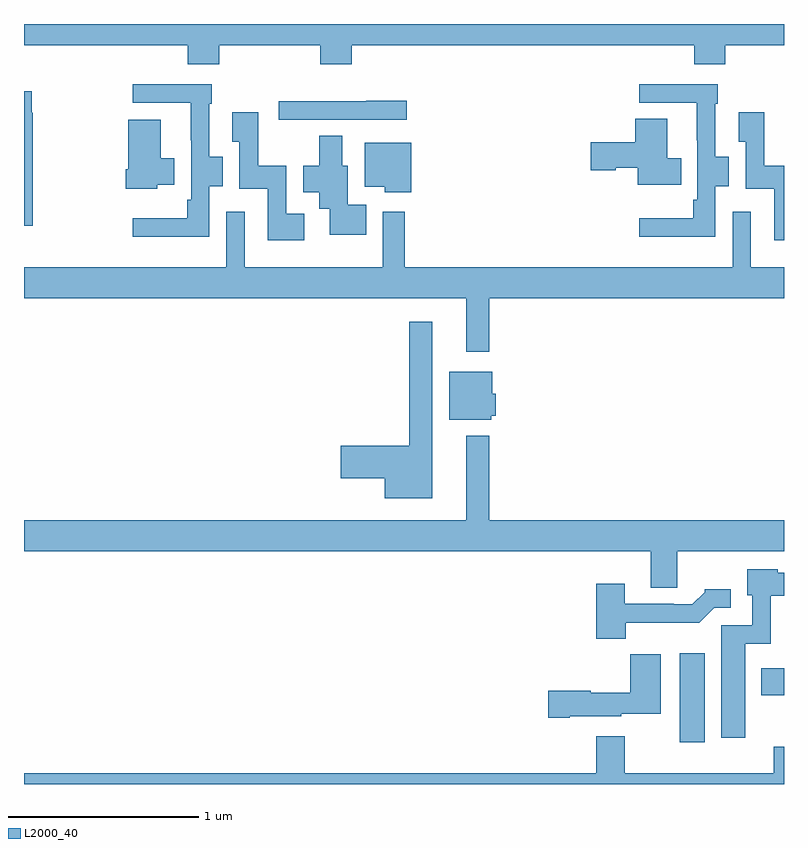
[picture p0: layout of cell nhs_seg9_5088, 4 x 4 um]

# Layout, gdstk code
import gdstk
lib = gdstk.Library(unit=1e-6, precision=1e-09)
def R(c, l, rs):  # rectangles x0, y0, x1, y1
    for r in rs: c.add(gdstk.rectangle(r[:2], r[2:], *l))
def P(c, l, *ps):  # polygons
    for p in ps: c.add(gdstk.Polygon(p, *l))
L2000_40 = (2000, 40)

nhs_seg9_5088 = lib.new_cell('nhs_seg9_5088')
R(nhs_seg9_5088, L2000_40, [(408.452,1224.72,408.583,1225.189), (408.881,1224.968,409,1225.108)])
P(nhs_seg9_5088, L2000_40, [(406.028,1228.388),(406.559,1228.388),(406.559,1228.289),(406.724,1228.289),(406.724,1228.388),(408.527,1228.388),(408.527,1228.289),(408.692,1228.289),(408.692,1228.388),(409,1228.388),(409,1228.5),(405,1228.5),(405,1228.388),(405.863,1228.388),(405.863,1228.289),(406.028,1228.289)],
  [(408.639,1227.646),(408.709,1227.646),(408.709,1227.801),(408.639,1227.801),(408.639,1228.079),(408.652,1228.079),(408.652,1228.182),(408.237,1228.182),(408.237,1228.086),(408.542,1228.086),(408.542,1227.889),(408.543,1227.889),(408.543,1227.574),(408.523,1227.574),(408.523,1227.478),(408.237,1227.478),(408.237,1227.38),(408.639,1227.38)],
  [(405.975,1227.646),(406.045,1227.646),(406.045,1227.801),(405.975,1227.801),(405.975,1228.079),(405.988,1228.079),(405.988,1228.182),(405.573,1228.182),(405.573,1228.086),(405.878,1228.086),(405.878,1227.889),(405.879,1227.889),(405.879,1227.574),(405.859,1227.574),(405.859,1227.478),(405.573,1227.478),(405.573,1227.38),(405.975,1227.38)],
  [(405.047,1228.034),(405.04,1228.034),(405.04,1228.147),(405,1228.147),(405,1227.437),(405.047,1227.437)],
  [(407.014,1228.097),(406.801,1228.097),(406.801,1228.094),(406.341,1228.094),(406.341,1227.996),(407.014,1227.996)],
  [(406.474,1227.502),(406.38,1227.502),(406.38,1227.754),(406.233,1227.754),(406.233,1228.036),(406.097,1228.036),(406.097,1227.88),(406.134,1227.88),(406.134,1227.632),(406.284,1227.632),(406.284,1227.362),(406.474,1227.362)],
  [(409,1227.754),(408.897,1227.754),(408.897,1228.036),(408.761,1228.036),(408.761,1227.88),(408.798,1227.88),(408.798,1227.632),(408.948,1227.632),(408.948,1227.362),(409,1227.362)],
  [(408.458,1227.793),(408.385,1227.793),(408.385,1228.001),(408.218,1228.001),(408.218,1227.878),(407.982,1227.878),(407.982,1227.731),(408.114,1227.731),(408.114,1227.743),(408.23,1227.743),(408.23,1227.653),(408.458,1227.653)],
  [(405.702,1227.653),(405.79,1227.653),(405.79,1227.793),(405.721,1227.793),(405.721,1227.997),(405.548,1227.997),(405.548,1227.736),(405.536,1227.736),(405.536,1227.632),(405.702,1227.632)],
  [(406.802,1227.55),(406.705,1227.55),(406.705,1227.754),(406.675,1227.754),(406.675,1227.911),(406.553,1227.911),(406.553,1227.754),(406.469,1227.754),(406.469,1227.614),(406.553,1227.614),(406.553,1227.527),(406.608,1227.527),(406.608,1227.392),(406.802,1227.392)],
  [(407.038,1227.874),(406.793,1227.874),(406.793,1227.644),(406.898,1227.644),(406.898,1227.614),(407.038,1227.614)],
  [(407.449,1227.056),(409,1227.056),(409,1227.22),(408.825,1227.22),(408.825,1227.511),(408.729,1227.511),(408.729,1227.22),(407.003,1227.22),(407.003,1227.511),(406.887,1227.511),(406.887,1227.22),(406.161,1227.22),(406.161,1227.511),(406.065,1227.511),(406.065,1227.22),(405,1227.22),(405,1227.056),(407.327,1227.056),(407.327,1226.775),(407.449,1226.775)],
  [(407.149,1226.932),(407.028,1226.932),(407.028,1226.279),(406.668,1226.279),(406.668,1226.108),(406.898,1226.108),(406.898,1226.003),(407.149,1226.003)],
  [(407.46,1226.439),(407.482,1226.439),(407.482,1226.553),(407.464,1226.553),(407.464,1226.671),(407.237,1226.671),(407.237,1226.417),(407.46,1226.417)],
  [(408.439,1225.724),(409,1225.724),(409,1225.888),(407.449,1225.888),(407.449,1226.332),(407.327,1226.332),(407.327,1225.888),(405,1225.888),(405,1225.724),(408.299,1225.724),(408.299,1225.534),(408.439,1225.534)],
  [(408.796,1225.238),(408.93,1225.238),(408.93,1225.49),(409,1225.49),(409,1225.612),(408.966,1225.612),(408.966,1225.63),(408.806,1225.63),(408.806,1225.494),(408.834,1225.494),(408.834,1225.335),(408.671,1225.335),(408.671,1224.744),(408.796,1224.744)],
  [(408.166,1225.35),(408.555,1225.35),(408.633,1225.428),(408.721,1225.428),(408.721,1225.525),(408.582,1225.525),(408.582,1225.51),(408.518,1225.446),(408.419,1225.446),(408.419,1225.449),(408.163,1225.449),(408.163,1225.555),(408.011,1225.555),(408.011,1225.265),(408.166,1225.265)],
  [(407.872,1224.857),(408.144,1224.857),(408.144,1224.869),(408.352,1224.869),(408.352,1225.183),(408.19,1225.183),(408.19,1224.979),(407.982,1224.979),(407.982,1224.992),(407.76,1224.992),(407.76,1224.85),(407.872,1224.85)],
  [(409,1224.697),(408.947,1224.697),(408.947,1224.556),(408.163,1224.556),(408.163,1224.751),(408.011,1224.751),(408.011,1224.556),(405,1224.556),(405,1224.5),(409,1224.5)])

lib.write_gds('nhs_seg9_5088.gds')
